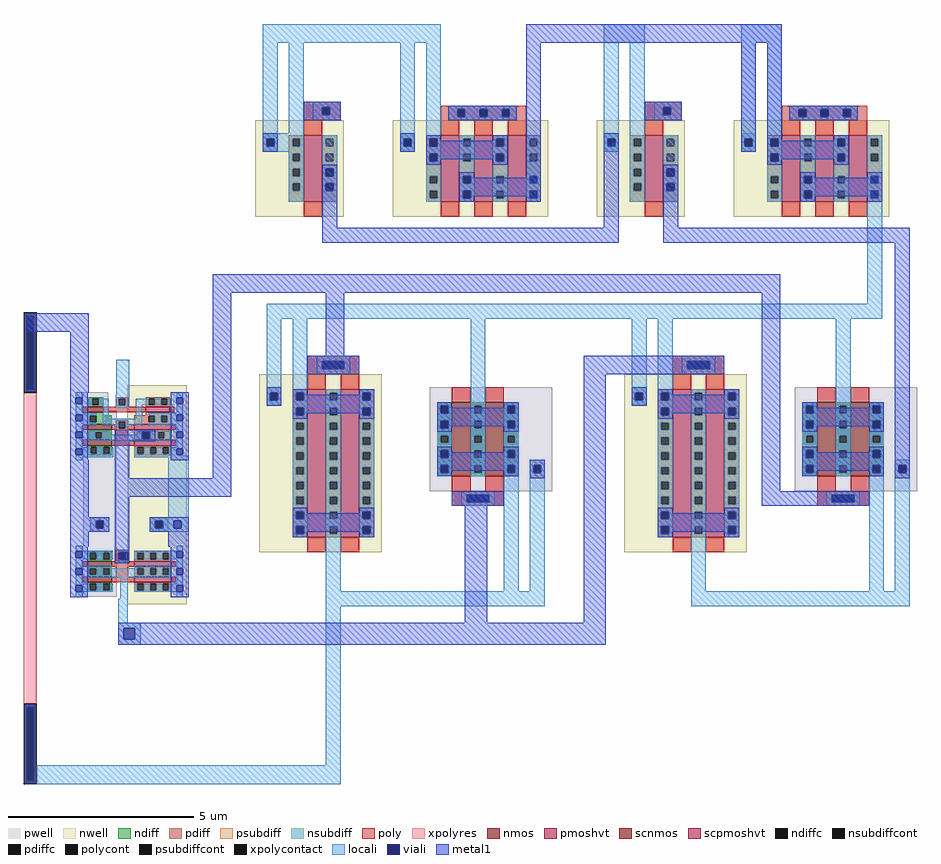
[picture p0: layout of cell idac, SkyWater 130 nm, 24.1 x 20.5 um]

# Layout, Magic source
magic
tech sky130A
magscale 1 2
<< nwell >>
rect 380 220 420 260
rect 2220 220 2260 260
rect -690 -1760 -370 -1300
rect -680 -1810 -370 -1760
rect -690 -1860 -370 -1810
<< pwell >>
rect -930 -1780 -750 -1290
<< pdiffc >>
rect 380 220 420 260
rect 2220 220 2260 260
<< psubdiff >>
rect -890 -1640 -790 -1620
rect -890 -1680 -860 -1640
rect -820 -1680 -790 -1640
rect -890 -1700 -790 -1680
<< nsubdiff >>
rect -570 -1640 -470 -1620
rect -570 -1680 -540 -1640
rect -500 -1680 -470 -1640
rect -570 -1700 -470 -1680
<< psubdiffcont >>
rect -860 -1680 -820 -1640
<< nsubdiffcont >>
rect -540 -1680 -500 -1640
<< poly >>
rect 260 590 460 620
rect 260 550 360 590
rect 400 550 460 590
rect 2100 590 2300 620
rect 260 520 460 550
rect 2100 550 2200 590
rect 2240 550 2300 590
rect 2100 520 2300 550
<< polycont >>
rect 360 550 400 590
rect 1090 540 1130 580
rect 1210 540 1250 580
rect 1330 540 1370 580
rect 2200 550 2240 590
rect 2930 540 2970 580
rect 3050 540 3090 580
rect 3170 540 3210 580
<< locali >>
rect 160 940 850 1040
rect 180 450 260 830
rect 310 590 460 620
rect 310 550 360 590
rect 400 550 460 590
rect 310 520 460 550
rect 1040 580 1410 600
rect 1040 540 1090 580
rect 1130 540 1210 580
rect 1250 540 1330 580
rect 1370 540 1410 580
rect 1040 520 1410 540
rect 2150 590 2300 620
rect 2150 550 2200 590
rect 2240 550 2300 590
rect 2150 520 2300 550
rect 2880 580 3250 600
rect 2880 540 2930 580
rect 2970 540 3050 580
rect 3090 540 3170 580
rect 3210 540 3250 580
rect 2880 520 3250 540
rect 120 420 260 450
rect 120 350 180 420
rect 3300 -470 3380 110
rect 1020 -550 2110 -470
rect 2850 -550 3380 -470
rect -750 -980 -680 -770
rect -470 -1620 -360 -1290
rect -890 -1640 -790 -1620
rect -890 -1680 -860 -1640
rect -820 -1680 -790 -1640
rect -890 -1700 -790 -1680
rect -570 -1640 -360 -1620
rect -570 -1680 -540 -1640
rect -500 -1680 -440 -1640
rect -400 -1680 -360 -1640
rect -570 -1700 -360 -1680
rect -740 -1940 -690 -1930
rect -730 -2060 -690 -1940
rect -740 -2190 -690 -2060
rect -740 -2220 -620 -2190
rect -740 -2280 -710 -2220
rect -650 -2280 -620 -2220
rect -740 -2310 -620 -2280
rect 380 -2960 460 -2100
rect -1180 -3060 460 -2960
<< viali >>
rect 360 550 400 590
rect 1090 540 1130 580
rect 1210 540 1250 580
rect 1330 540 1370 580
rect 2200 550 2240 590
rect 2930 540 2970 580
rect 3050 540 3090 580
rect 3170 540 3210 580
rect 380 220 420 260
rect 2220 220 2260 260
rect 380 140 420 180
rect 2220 140 2260 180
rect -610 -1200 -570 -1160
rect -860 -1680 -820 -1640
rect -540 -1680 -500 -1640
rect -440 -1680 -400 -1640
rect -730 -1850 -690 -1810
rect -710 -2280 -650 -2220
<< metal1 >>
rect 1460 940 2840 1040
rect 260 590 460 620
rect 260 550 360 590
rect 400 550 460 590
rect 260 520 460 550
rect 1040 580 1410 600
rect 1040 540 1090 580
rect 1130 540 1210 580
rect 1250 540 1330 580
rect 1370 540 1410 580
rect 1040 520 1410 540
rect 360 260 440 280
rect 360 220 380 260
rect 420 220 440 260
rect 1460 240 1540 940
rect 2100 590 2300 620
rect 2100 550 2200 590
rect 2240 550 2300 590
rect 2100 520 2300 550
rect 2620 450 2700 940
rect 2760 440 2840 940
rect 2880 580 3250 600
rect 2880 540 2930 580
rect 2970 540 3050 580
rect 3090 540 3170 580
rect 3210 540 3250 580
rect 2880 520 3250 540
rect 360 180 440 220
rect 360 140 380 180
rect 420 140 440 180
rect 360 -60 440 140
rect 1880 -60 1960 400
rect 360 -140 1960 -60
rect 2200 260 2280 280
rect 2200 220 2220 260
rect 2260 220 2280 260
rect 2200 180 2280 220
rect 2200 140 2220 180
rect 2260 140 2280 180
rect 2200 -60 2280 140
rect 2200 -140 3530 -60
rect -230 -410 2830 -310
rect -1240 -620 -900 -520
rect -1000 -950 -900 -620
rect -999 -975 -904 -950
rect -760 -1160 -540 -1150
rect -760 -1200 -610 -1160
rect -570 -1200 -540 -1160
rect -760 -1210 -540 -1200
rect -1000 -1620 -900 -1310
rect -760 -1410 -680 -1210
rect -230 -1410 -130 -410
rect 380 -820 480 -410
rect -760 -1510 -130 -1410
rect 1770 -850 2250 -750
rect -1000 -1640 -790 -1620
rect -1000 -1680 -860 -1640
rect -820 -1680 -790 -1640
rect -1000 -1700 -790 -1680
rect -1000 -1780 -900 -1700
rect -760 -1810 -680 -1510
rect -570 -1640 -360 -1620
rect -570 -1680 -540 -1640
rect -500 -1680 -440 -1640
rect -400 -1680 -360 -1640
rect -570 -1700 -360 -1680
rect -470 -1780 -360 -1700
rect -760 -1850 -730 -1810
rect -690 -1850 -680 -1810
rect -760 -1870 -680 -1850
rect 1130 -2190 1250 -1510
rect 1770 -2190 1890 -850
rect 2730 -1480 2830 -410
rect 3450 -1320 3530 -140
rect 2730 -1560 3030 -1480
rect -740 -2220 1890 -2190
rect -740 -2280 -710 -2220
rect -650 -2280 1890 -2220
rect -740 -2310 1890 -2280
use obr  obr_0
transform 1 0 0 0 1 0
box 0 0 1580 1040
use obr  obr_1
transform 1 0 1840 0 1 0
box 0 0 1580 1040
use ol1  ol1_0
transform 1 0 20 0 1 -1810
box 0 -290 1580 1340
use ol1  ol1_1
transform 1 0 1990 0 1 -1810
box 0 -290 1580 1340
use sky130_fd_pr__res_xhigh_po_0p35_R469US  sky130_fd_pr__res_xhigh_po_0p35_R469US_0
transform -1 0 -1215 0 -1 -1788
box -35 -1272 35 1272
use sky130_fd_sc_hd__buf_2  sky130_fd_sc_hd__buf_2_0 ~/eda/unic-cass/share/pdk/sky130A/libs.ref/sky130_fd_sc_hd/mag
transform 0 1 -952 -1 0 -946
box -38 -48 406 592
use sky130_fd_sc_hd__inv_2  sky130_fd_sc_hd__inv_2_0 ~/eda/unic-cass/share/pdk/sky130A/libs.ref/sky130_fd_sc_hd/mag
transform 0 1 -952 -1 0 -1776
box -38 -48 314 592
<< end >>

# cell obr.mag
magic
tech sky130A
<< poly >>
rect 500 260 730 300
rect 130 220 180 260
<< locali >>
rect 20 470 130 520
rect 20 225 60 470
rect 90 220 130 470
rect 390 470 500 520
rect 390 225 430 470
rect 180 40 220 220
rect 460 210 500 470
<< metal1 >>
rect 730 40 770 120
use p_br1  p_br1_0
transform 1 0 130 0 1 40
box -130 -40 108 220
use p_br2  p_br2_0
transform 1 0 500 0 1 40
box -130 -40 290 260
<< labels >>
rlabel locali 80 520 80 520 1 s_1
port 1 n
rlabel poly 155 260 155 260 1 g_1
port 2 n
rlabel locali 205 220 205 220 1 d_1
port 3 n
rlabel locali 445 520 445 520 1 s_2
port 4 n
rlabel poly 615 300 615 300 1 g_2
port 5 n
rlabel metal1 750 40 750 40 5 d_2
port 6 s
<< end >>

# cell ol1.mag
magic
tech sky130A
<< locali >>
rect 20 630 610 670
rect 20 445 60 630
rect 90 440 130 630
rect 570 400 610 630
rect 180 -105 220 40
rect 660 -105 700 220
rect 730 -105 770 220
rect 180 -145 770 -105
<< metal1 >>
rect 130 480 270 530
rect 520 125 660 165
use n_lk  n_lk_0
transform -1 0 660 0 -1 405
box -130 -40 200 280
use p_lk  p_lk_0
transform 1 0 130 0 1 40
box -130 -40 200 490
<< labels >>
rlabel locali 480 -105 480 -105 1 input_R
port 2 n
rlabel locali 375 670 375 670 1 add_pwr
port 1 n
rlabel metal1 225 530 225 530 1 g1
port 3 n
rlabel metal1 565 125 565 125 5 g2
port 4 s
<< end >>

# cell sky130_fd_pr__res_xhigh_po_0p35_R469US: kit device sky130_fd_pr__res_xhigh_po_0p35, w 0.350 l 8.562 m 1 nx 1 wmin 0.350 lmin 0.50 rho 2000 val 50.001k dummy 0 dw 0.0 term 188.2 sterm 0.0 caplen 0 wmax 0.350 guard 0 glc 1 grc 1 gtc 1 gbc 1 compatible {sky130_fd_pr__res_xhigh_po_0p35 sky130_fd_pr__res_xhigh_po_0p69 sky130_fd_pr__res_xhigh_po_1p41 sky130_fd_pr__res_xhigh_po_2p85 sky130_fd_pr__res_xhigh_po_5p73} snake 0 full_metal 1 n_guard 0 hv_guard 0 vias 1 viagb 0 viagt 0 viagl 0 viagr 0

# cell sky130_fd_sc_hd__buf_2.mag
magic
tech sky130A
magscale 1 2
<< nwell >>
rect -38 261 406 582
<< pwell >>
rect 98 157 367 203
rect 1 21 367 157
rect 29 -17 63 21
<< scnmos >>
rect 79 47 109 131
rect 174 47 204 177
rect 258 47 288 177
<< scpmoshvt >>
rect 79 361 109 489
rect 174 297 204 497
rect 258 297 288 497
<< ndiff >>
rect 124 131 174 177
rect 27 106 79 131
rect 27 72 35 106
rect 69 72 79 106
rect 27 47 79 72
rect 109 93 174 131
rect 109 59 128 93
rect 162 59 174 93
rect 109 47 174 59
rect 204 123 258 177
rect 204 89 214 123
rect 248 89 258 123
rect 204 47 258 89
rect 288 165 341 177
rect 288 131 298 165
rect 332 131 341 165
rect 288 97 341 131
rect 288 63 298 97
rect 332 63 341 97
rect 288 47 341 63
<< pdiff >>
rect 124 489 174 497
rect 27 477 79 489
rect 27 443 35 477
rect 69 443 79 477
rect 27 409 79 443
rect 27 375 35 409
rect 69 375 79 409
rect 27 361 79 375
rect 109 477 174 489
rect 109 443 128 477
rect 162 443 174 477
rect 109 409 174 443
rect 109 375 128 409
rect 162 375 174 409
rect 109 361 174 375
rect 124 297 174 361
rect 204 461 258 497
rect 204 427 214 461
rect 248 427 258 461
rect 204 380 258 427
rect 204 346 214 380
rect 248 346 258 380
rect 204 297 258 346
rect 288 485 341 497
rect 288 451 298 485
rect 332 451 341 485
rect 288 417 341 451
rect 288 383 298 417
rect 332 383 341 417
rect 288 349 341 383
rect 288 315 298 349
rect 332 315 341 349
rect 288 297 341 315
<< ndiffc >>
rect 35 72 69 106
rect 128 59 162 93
rect 214 89 248 123
rect 298 131 332 165
rect 298 63 332 97
<< pdiffc >>
rect 35 443 69 477
rect 35 375 69 409
rect 128 443 162 477
rect 128 375 162 409
rect 214 427 248 461
rect 214 346 248 380
rect 298 451 332 485
rect 298 383 332 417
rect 298 315 332 349
<< poly >>
rect 79 489 109 515
rect 174 497 204 523
rect 258 497 288 523
rect 79 265 109 361
rect 174 265 204 297
rect 258 265 288 297
rect 27 249 109 265
rect 27 215 37 249
rect 71 215 109 249
rect 27 199 109 215
rect 151 249 288 265
rect 151 215 161 249
rect 195 215 288 249
rect 151 199 288 215
rect 79 131 109 199
rect 174 177 204 199
rect 258 177 288 199
rect 79 21 109 47
rect 174 21 204 47
rect 258 21 288 47
<< polycont >>
rect 37 215 71 249
rect 161 215 195 249
<< locali >>
rect 0 527 29 561
rect 63 527 121 561
rect 155 527 213 561
rect 247 527 305 561
rect 339 527 368 561
rect 35 477 69 493
rect 35 409 69 443
rect 112 477 178 527
rect 112 443 128 477
rect 162 443 178 477
rect 112 409 178 443
rect 112 375 128 409
rect 162 375 178 409
rect 212 461 263 493
rect 212 427 214 461
rect 248 427 263 461
rect 212 380 263 427
rect 35 341 69 375
rect 212 346 214 380
rect 248 346 263 380
rect 35 307 178 341
rect 212 312 263 346
rect 17 249 88 271
rect 17 215 37 249
rect 71 215 88 249
rect 17 197 88 215
rect 144 265 178 307
rect 144 249 195 265
rect 144 215 161 249
rect 144 199 195 215
rect 144 161 178 199
rect 229 166 263 312
rect 298 485 350 527
rect 332 451 350 485
rect 298 417 350 451
rect 332 383 350 417
rect 298 349 350 383
rect 332 315 350 349
rect 298 297 350 315
rect 35 127 178 161
rect 35 106 69 127
rect 212 123 263 166
rect 35 51 69 72
rect 112 59 128 93
rect 162 59 178 93
rect 112 17 178 59
rect 212 89 214 123
rect 248 89 263 123
rect 212 51 263 89
rect 298 165 350 185
rect 332 131 350 165
rect 298 97 350 131
rect 332 63 350 97
rect 298 17 350 63
rect 0 -17 29 17
rect 63 -17 121 17
rect 155 -17 213 17
rect 247 -17 305 17
rect 339 -17 368 17
<< viali >>
rect 29 527 63 561
rect 121 527 155 561
rect 213 527 247 561
rect 305 527 339 561
rect 29 -17 63 17
rect 121 -17 155 17
rect 213 -17 247 17
rect 305 -17 339 17
<< metal1 >>
rect 0 561 368 592
rect 0 527 29 561
rect 63 527 121 561
rect 155 527 213 561
rect 247 527 305 561
rect 339 527 368 561
rect 0 496 368 527
rect 0 17 368 48
rect 0 -17 29 17
rect 63 -17 121 17
rect 155 -17 213 17
rect 247 -17 305 17
rect 339 -17 368 17
rect 0 -48 368 -17
<< labels >>
flabel metal1 s 29 527 63 561 0 FreeSans 200 0 0 0 VPWR
port 2 nsew
flabel metal1 s 29 -17 63 17 0 FreeSans 200 0 0 0 VGND
port 3 nsew
flabel locali s 29 527 63 561 0 FreeSans 200 0 0 0 VPWR
port 2 nsew
flabel locali s 29 -17 63 17 0 FreeSans 200 0 0 0 VGND
port 3 nsew
flabel locali s 212 85 246 119 0 FreeSans 200 0 0 0 X
port 4 nsew
flabel locali s 212 357 246 391 0 FreeSans 200 0 0 0 X
port 4 nsew
flabel locali s 212 425 246 459 0 FreeSans 200 0 0 0 X
port 4 nsew
flabel locali s 29 221 63 255 0 FreeSans 200 0 0 0 A
port 5 nsew
flabel nwell s 29 527 63 561 0 FreeSans 200 0 0 0 VPB
port 6 nsew
flabel pwell s 29 -17 63 17 0 FreeSans 200 0 0 0 VNB
port 7 nsew
rlabel comment s 0 0 0 0 4 buf_2
<< properties >>
string FIXED_BBOX 0 0 368 544
string path 0.000 2.720 1.840 2.720 
<< end >>

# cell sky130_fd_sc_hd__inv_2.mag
magic
tech sky130A
magscale 1 2
<< nwell >>
rect -38 261 314 582
<< pwell >>
rect 3 21 273 203
rect 29 -17 63 21
<< scnmos >>
rect 81 47 111 177
rect 165 47 195 177
<< scpmoshvt >>
rect 81 297 111 497
rect 165 297 195 497
<< ndiff >>
rect 29 165 81 177
rect 29 131 37 165
rect 71 131 81 165
rect 29 93 81 131
rect 29 59 37 93
rect 71 59 81 93
rect 29 47 81 59
rect 111 165 165 177
rect 111 131 121 165
rect 155 131 165 165
rect 111 93 165 131
rect 111 59 121 93
rect 155 59 165 93
rect 111 47 165 59
rect 195 165 247 177
rect 195 131 205 165
rect 239 131 247 165
rect 195 93 247 131
rect 195 59 205 93
rect 239 59 247 93
rect 195 47 247 59
<< pdiff >>
rect 29 485 81 497
rect 29 451 37 485
rect 71 451 81 485
rect 29 417 81 451
rect 29 383 37 417
rect 71 383 81 417
rect 29 349 81 383
rect 29 315 37 349
rect 71 315 81 349
rect 29 297 81 315
rect 111 485 165 497
rect 111 451 121 485
rect 155 451 165 485
rect 111 417 165 451
rect 111 383 121 417
rect 155 383 165 417
rect 111 349 165 383
rect 111 315 121 349
rect 155 315 165 349
rect 111 297 165 315
rect 195 485 247 497
rect 195 451 205 485
rect 239 451 247 485
rect 195 417 247 451
rect 195 383 205 417
rect 239 383 247 417
rect 195 349 247 383
rect 195 315 205 349
rect 239 315 247 349
rect 195 297 247 315
<< ndiffc >>
rect 37 131 71 165
rect 37 59 71 93
rect 121 131 155 165
rect 121 59 155 93
rect 205 131 239 165
rect 205 59 239 93
<< pdiffc >>
rect 37 451 71 485
rect 37 383 71 417
rect 37 315 71 349
rect 121 451 155 485
rect 121 383 155 417
rect 121 315 155 349
rect 205 451 239 485
rect 205 383 239 417
rect 205 315 239 349
<< poly >>
rect 81 497 111 523
rect 165 497 195 523
rect 81 265 111 297
rect 165 265 195 297
rect 21 249 195 265
rect 21 215 37 249
rect 71 215 195 249
rect 21 199 195 215
rect 81 177 111 199
rect 165 177 195 199
rect 81 21 111 47
rect 165 21 195 47
<< polycont >>
rect 37 215 71 249
<< locali >>
rect 0 527 29 561
rect 63 527 121 561
rect 155 527 213 561
rect 247 527 276 561
rect 25 485 71 527
rect 25 451 37 485
rect 25 417 71 451
rect 25 383 37 417
rect 25 349 71 383
rect 25 315 37 349
rect 25 299 71 315
rect 105 485 171 493
rect 105 451 121 485
rect 155 451 171 485
rect 105 417 171 451
rect 105 383 121 417
rect 155 383 171 417
rect 105 349 171 383
rect 105 315 121 349
rect 155 315 171 349
rect 105 297 171 315
rect 205 485 247 527
rect 239 451 247 485
rect 205 417 247 451
rect 239 383 247 417
rect 205 349 247 383
rect 239 315 247 349
rect 205 299 247 315
rect 21 249 87 265
rect 21 215 37 249
rect 71 215 87 249
rect 25 165 71 181
rect 121 177 171 297
rect 25 131 37 165
rect 25 93 71 131
rect 25 59 37 93
rect 25 17 71 59
rect 105 165 171 177
rect 105 131 121 165
rect 155 131 171 165
rect 105 93 171 131
rect 105 59 121 93
rect 155 59 171 93
rect 105 51 171 59
rect 205 165 247 181
rect 239 131 247 165
rect 205 93 247 131
rect 239 59 247 93
rect 205 17 247 59
rect 0 -17 29 17
rect 63 -17 121 17
rect 155 -17 213 17
rect 247 -17 276 17
<< viali >>
rect 29 527 63 561
rect 121 527 155 561
rect 213 527 247 561
rect 29 -17 63 17
rect 121 -17 155 17
rect 213 -17 247 17
<< metal1 >>
rect 0 561 276 592
rect 0 527 29 561
rect 63 527 121 561
rect 155 527 213 561
rect 247 527 276 561
rect 0 496 276 527
rect 0 17 276 48
rect 0 -17 29 17
rect 63 -17 121 17
rect 155 -17 213 17
rect 247 -17 276 17
rect 0 -48 276 -17
<< labels >>
flabel locali s 29 221 63 255 0 FreeSans 340 0 0 0 A
port 7 nsew
flabel locali s 121 153 155 187 0 FreeSans 340 0 0 0 Y
port 6 nsew
flabel locali s 121 289 155 323 0 FreeSans 340 0 0 0 Y
port 6 nsew
flabel locali s 121 221 155 255 0 FreeSans 340 0 0 0 Y
port 6 nsew
flabel nwell s 29 527 63 561 0 FreeSans 200 0 0 0 VPB
port 2 nsew
flabel pwell s 29 -17 63 17 0 FreeSans 200 0 0 0 VNB
port 3 nsew
flabel metal1 s 29 527 63 561 0 FreeSans 200 0 0 0 VPWR
port 4 nsew
flabel metal1 s 29 -17 63 17 0 FreeSans 200 0 0 0 VGND
port 5 nsew
rlabel comment s 0 0 0 0 4 inv_2
<< properties >>
string FIXED_BBOX 0 0 276 544
string path 0.000 0.000 1.380 0.000 
<< end >>

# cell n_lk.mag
magic
tech sky130A
<< pwell >>
rect -130 -40 200 240
<< nmos >>
rect 0 0 50 200
rect 90 0 140 200
<< ndiff >>
rect -40 190 0 200
rect -40 170 -30 190
rect -10 170 0 190
rect -40 150 0 170
rect -40 130 -30 150
rect -10 130 0 150
rect -40 110 0 130
rect -40 90 -30 110
rect -10 90 0 110
rect -40 70 0 90
rect -40 50 -30 70
rect -10 50 0 70
rect -40 30 0 50
rect -40 10 -30 30
rect -10 10 0 30
rect -40 0 0 10
rect 50 190 90 200
rect 50 170 60 190
rect 80 170 90 190
rect 50 150 90 170
rect 50 130 60 150
rect 80 130 90 150
rect 50 110 90 130
rect 50 90 60 110
rect 80 90 90 110
rect 50 70 90 90
rect 50 50 60 70
rect 80 50 90 70
rect 50 30 90 50
rect 50 10 60 30
rect 80 10 90 30
rect 50 0 90 10
rect 140 190 180 200
rect 140 170 150 190
rect 170 170 180 190
rect 140 150 180 170
rect 140 130 150 150
rect 170 130 180 150
rect 140 110 180 130
rect 140 90 150 110
rect 170 90 180 110
rect 140 70 180 90
rect 140 50 150 70
rect 170 50 180 70
rect 140 30 180 50
rect 140 10 150 30
rect 170 10 180 30
rect 140 0 180 10
<< ndiffc >>
rect -30 170 -10 190
rect -30 130 -10 150
rect -30 90 -10 110
rect -30 50 -10 70
rect -30 10 -10 30
rect 60 170 80 190
rect 60 130 80 150
rect 60 90 80 110
rect 60 50 80 70
rect 60 10 80 30
rect 150 170 170 190
rect 150 130 170 150
rect 150 90 170 110
rect 150 50 170 70
rect 150 10 170 30
<< psubdiff >>
rect -110 190 -70 205
rect -110 170 -100 190
rect -80 170 -70 190
rect -110 155 -70 170
<< psubdiffcont >>
rect -100 170 -80 190
<< poly >>
rect 0 270 140 280
rect 0 250 40 270
rect 100 250 140 270
rect 0 240 140 250
rect 0 200 50 240
rect 90 200 140 240
rect 0 -40 50 0
rect 90 -40 140 0
<< polycont >>
rect 40 250 100 270
<< locali >>
rect 25 270 115 280
rect 25 250 40 270
rect 100 250 115 270
rect 25 240 115 250
rect -110 190 -70 205
rect -110 170 -100 190
rect -80 170 -70 190
rect -110 155 -70 170
rect -40 190 0 200
rect -40 170 -30 190
rect -10 170 0 190
rect -40 150 0 170
rect -40 130 -30 150
rect -10 130 0 150
rect -40 110 0 130
rect -40 90 -30 110
rect -10 90 0 110
rect -40 70 0 90
rect -40 50 -30 70
rect -10 50 0 70
rect -40 30 0 50
rect -40 10 -30 30
rect -10 10 0 30
rect -40 0 0 10
rect 50 190 90 200
rect 50 170 60 190
rect 80 170 90 190
rect 50 150 90 170
rect 50 130 60 150
rect 80 130 90 150
rect 50 110 90 130
rect 50 90 60 110
rect 80 90 90 110
rect 50 70 90 90
rect 50 50 60 70
rect 80 50 90 70
rect 50 30 90 50
rect 50 10 60 30
rect 80 10 90 30
rect 50 0 90 10
rect 140 190 180 200
rect 140 170 150 190
rect 170 170 180 190
rect 140 150 180 170
rect 140 130 150 150
rect 170 130 180 150
rect 140 110 180 130
rect 140 90 150 110
rect 170 90 180 110
rect 140 70 180 90
rect 140 50 150 70
rect 170 50 180 70
rect 140 30 180 50
rect 140 10 150 30
rect 170 10 180 30
rect 140 0 180 10
<< viali >>
rect 40 250 100 270
rect -100 170 -80 190
rect -30 170 -10 190
rect -30 130 -10 150
rect -30 50 -10 70
rect -30 10 -10 30
rect 150 170 170 190
rect 150 130 170 150
rect 150 50 170 70
rect 150 10 170 30
<< metal1 >>
rect 0 270 140 280
rect 0 250 40 270
rect 100 250 140 270
rect 0 240 140 250
rect -110 190 -70 205
rect -110 170 -100 190
rect -80 170 -70 190
rect -110 155 -70 170
rect -40 190 0 200
rect -40 170 -30 190
rect -10 185 0 190
rect 140 190 180 200
rect 140 185 150 190
rect -10 170 150 185
rect 170 170 180 190
rect -40 150 180 170
rect -40 130 -30 150
rect -10 135 150 150
rect -10 130 0 135
rect -40 120 0 130
rect 140 130 150 135
rect 170 130 180 150
rect 140 120 180 130
rect -40 70 0 80
rect -40 50 -30 70
rect -10 65 0 70
rect 140 70 180 80
rect 140 65 150 70
rect -10 50 150 65
rect 170 50 180 70
rect -40 30 180 50
rect -40 10 -30 30
rect -10 15 150 30
rect -10 10 0 15
rect -40 0 0 10
rect 140 10 150 15
rect 170 10 180 30
rect 140 0 180 10
<< labels >>
rlabel metal1 -90 205 -90 205 1 B
port 4 n
rlabel metal1 -20 200 -20 200 1 S
port 2 n
rlabel locali 70 0 70 0 5 D
port 3 s
rlabel metal1 70 280 70 280 1 G
port 1 n
<< end >>

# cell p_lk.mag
magic
tech sky130A
<< nwell >>
rect -130 -40 200 440
<< pmoshvt >>
rect 0 0 50 400
rect 90 0 140 400
<< pdiff >>
rect -40 390 0 400
rect -40 370 -30 390
rect -10 370 0 390
rect -40 350 0 370
rect -40 330 -30 350
rect -10 330 0 350
rect -40 310 0 330
rect -40 290 -30 310
rect -10 290 0 310
rect -40 270 0 290
rect -40 250 -30 270
rect -10 250 0 270
rect -40 230 0 250
rect -40 210 -30 230
rect -10 210 0 230
rect -40 190 0 210
rect -40 170 -30 190
rect -10 170 0 190
rect -40 150 0 170
rect -40 130 -30 150
rect -10 130 0 150
rect -40 110 0 130
rect -40 90 -30 110
rect -10 90 0 110
rect -40 70 0 90
rect -40 50 -30 70
rect -10 50 0 70
rect -40 30 0 50
rect -40 10 -30 30
rect -10 10 0 30
rect -40 0 0 10
rect 50 390 90 400
rect 50 370 60 390
rect 80 370 90 390
rect 50 350 90 370
rect 50 330 60 350
rect 80 330 90 350
rect 50 310 90 330
rect 50 290 60 310
rect 80 290 90 310
rect 50 270 90 290
rect 50 250 60 270
rect 80 250 90 270
rect 50 230 90 250
rect 50 210 60 230
rect 80 210 90 230
rect 50 190 90 210
rect 50 170 60 190
rect 80 170 90 190
rect 50 150 90 170
rect 50 130 60 150
rect 80 130 90 150
rect 50 110 90 130
rect 50 90 60 110
rect 80 90 90 110
rect 50 70 90 90
rect 50 50 60 70
rect 80 50 90 70
rect 50 30 90 50
rect 50 10 60 30
rect 80 10 90 30
rect 50 0 90 10
rect 140 390 180 400
rect 140 370 150 390
rect 170 370 180 390
rect 140 350 180 370
rect 140 330 150 350
rect 170 330 180 350
rect 140 310 180 330
rect 140 290 150 310
rect 170 290 180 310
rect 140 270 180 290
rect 140 250 150 270
rect 170 250 180 270
rect 140 230 180 250
rect 140 210 150 230
rect 170 210 180 230
rect 140 190 180 210
rect 140 170 150 190
rect 170 170 180 190
rect 140 150 180 170
rect 140 130 150 150
rect 170 130 180 150
rect 140 110 180 130
rect 140 90 150 110
rect 170 90 180 110
rect 140 70 180 90
rect 140 50 150 70
rect 170 50 180 70
rect 140 30 180 50
rect 140 10 150 30
rect 170 10 180 30
rect 140 0 180 10
<< pdiffc >>
rect -30 370 -10 390
rect -30 330 -10 350
rect -30 290 -10 310
rect -30 250 -10 270
rect -30 210 -10 230
rect -30 170 -10 190
rect -30 130 -10 150
rect -30 90 -10 110
rect -30 50 -10 70
rect -30 10 -10 30
rect 60 370 80 390
rect 60 330 80 350
rect 60 290 80 310
rect 60 250 80 270
rect 60 210 80 230
rect 60 170 80 190
rect 60 130 80 150
rect 60 90 80 110
rect 60 50 80 70
rect 60 10 80 30
rect 150 370 170 390
rect 150 330 170 350
rect 150 290 170 310
rect 150 250 170 270
rect 150 210 170 230
rect 150 170 170 190
rect 150 130 170 150
rect 150 90 170 110
rect 150 50 170 70
rect 150 10 170 30
<< nsubdiff >>
rect -110 390 -70 405
rect -110 370 -100 390
rect -80 370 -70 390
rect -110 355 -70 370
<< nsubdiffcont >>
rect -100 370 -80 390
<< poly >>
rect 0 475 140 490
rect 0 455 40 475
rect 100 455 140 475
rect 0 440 140 455
rect 0 400 50 440
rect 90 400 140 440
rect 0 -40 50 0
rect 90 -40 140 0
<< polycont >>
rect 40 455 100 475
<< locali >>
rect 25 475 115 490
rect 25 455 40 475
rect 100 455 115 475
rect 25 440 115 455
rect -110 390 -70 405
rect -110 370 -100 390
rect -80 370 -70 390
rect -110 355 -70 370
rect -40 390 0 400
rect -40 370 -30 390
rect -10 370 0 390
rect -40 350 0 370
rect -40 330 -30 350
rect -10 330 0 350
rect -40 310 0 330
rect -40 290 -30 310
rect -10 290 0 310
rect -40 270 0 290
rect -40 250 -30 270
rect -10 250 0 270
rect -40 230 0 250
rect -40 210 -30 230
rect -10 210 0 230
rect -40 190 0 210
rect -40 170 -30 190
rect -10 170 0 190
rect -40 150 0 170
rect -40 130 -30 150
rect -10 130 0 150
rect -40 110 0 130
rect -40 90 -30 110
rect -10 90 0 110
rect -40 70 0 90
rect -40 50 -30 70
rect -10 50 0 70
rect -40 30 0 50
rect -40 10 -30 30
rect -10 10 0 30
rect -40 0 0 10
rect 50 390 90 400
rect 50 370 60 390
rect 80 370 90 390
rect 50 350 90 370
rect 50 330 60 350
rect 80 330 90 350
rect 50 310 90 330
rect 50 290 60 310
rect 80 290 90 310
rect 50 270 90 290
rect 50 250 60 270
rect 80 250 90 270
rect 50 230 90 250
rect 50 210 60 230
rect 80 210 90 230
rect 50 190 90 210
rect 50 170 60 190
rect 80 170 90 190
rect 50 150 90 170
rect 50 130 60 150
rect 80 130 90 150
rect 50 110 90 130
rect 50 90 60 110
rect 80 90 90 110
rect 50 70 90 90
rect 50 50 60 70
rect 80 50 90 70
rect 50 30 90 50
rect 50 10 60 30
rect 80 10 90 30
rect 50 0 90 10
rect 140 390 180 400
rect 140 370 150 390
rect 170 370 180 390
rect 140 350 180 370
rect 140 330 150 350
rect 170 330 180 350
rect 140 310 180 330
rect 140 290 150 310
rect 170 290 180 310
rect 140 270 180 290
rect 140 250 150 270
rect 170 250 180 270
rect 140 230 180 250
rect 140 210 150 230
rect 170 210 180 230
rect 140 190 180 210
rect 140 170 150 190
rect 170 170 180 190
rect 140 150 180 170
rect 140 130 150 150
rect 170 130 180 150
rect 140 110 180 130
rect 140 90 150 110
rect 170 90 180 110
rect 140 70 180 90
rect 140 50 150 70
rect 170 50 180 70
rect 140 30 180 50
rect 140 10 150 30
rect 170 10 180 30
rect 140 0 180 10
<< viali >>
rect 40 455 100 475
rect -100 370 -80 390
rect -30 370 -10 390
rect -30 330 -10 350
rect -30 50 -10 70
rect -30 10 -10 30
rect 150 370 170 390
rect 150 330 170 350
rect 150 50 170 70
rect 150 10 170 30
<< metal1 >>
rect 0 475 140 490
rect 0 455 40 475
rect 100 455 140 475
rect 0 440 140 455
rect -110 390 -70 405
rect -110 370 -100 390
rect -80 370 -70 390
rect -110 355 -70 370
rect -40 390 0 400
rect -40 370 -30 390
rect -10 385 0 390
rect 140 390 180 400
rect 140 385 150 390
rect -10 370 150 385
rect 170 370 180 390
rect -40 350 180 370
rect -40 330 -30 350
rect -10 335 150 350
rect -10 330 0 335
rect -40 320 0 330
rect 140 330 150 335
rect 170 330 180 350
rect 140 320 180 330
rect -40 70 0 80
rect -40 50 -30 70
rect -10 65 0 70
rect 140 70 180 80
rect 140 65 150 70
rect -10 50 150 65
rect 170 50 180 70
rect -40 30 180 50
rect -40 10 -30 30
rect -10 15 150 30
rect -10 10 0 15
rect -40 0 0 10
rect 140 10 150 15
rect 170 10 180 30
rect 140 0 180 10
<< labels >>
rlabel metal1 -90 405 -90 405 1 B
port 4 n
rlabel metal1 -20 400 -20 400 1 S
port 2 n
rlabel locali 70 0 70 0 5 D
port 3 s
rlabel metal1 70 490 70 490 1 G
port 1 n
<< end >>

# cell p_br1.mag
magic
tech sky130A
<< nwell >>
rect -130 -40 108 220
<< pmoshvt >>
rect 0 0 50 180
<< pdiff >>
rect -40 170 0 180
rect -40 150 -30 170
rect -10 150 0 170
rect -40 130 0 150
rect -40 110 -30 130
rect -10 110 0 130
rect -40 90 0 110
rect -40 70 -30 90
rect -10 70 0 90
rect -40 50 0 70
rect -40 30 -30 50
rect -10 30 0 50
rect -40 0 0 30
rect 50 170 90 180
rect 50 150 60 170
rect 80 150 90 170
rect 50 130 90 150
rect 50 110 60 130
rect 80 110 90 130
rect 50 90 90 110
rect 50 70 60 90
rect 80 70 90 90
rect 50 50 90 70
rect 50 30 60 50
rect 80 30 90 50
rect 50 0 90 30
<< pdiffc >>
rect -30 150 -10 170
rect -30 110 -10 130
rect -30 70 -10 90
rect -30 30 -10 50
rect 60 150 80 170
rect 60 110 80 130
rect 60 70 80 90
rect 60 30 80 50
<< nsubdiff >>
rect -110 170 -70 185
rect -110 150 -100 170
rect -80 150 -70 170
rect -110 135 -70 150
<< nsubdiffcont >>
rect -100 150 -80 170
<< poly >>
rect 0 180 50 220
rect 0 -40 50 0
<< locali >>
rect -110 170 -70 185
rect -110 150 -100 170
rect -80 150 -70 170
rect -110 135 -70 150
rect -40 170 0 180
rect -40 150 -30 170
rect -10 150 0 170
rect -40 130 0 150
rect -40 110 -30 130
rect -10 110 0 130
rect -40 90 0 110
rect -40 70 -30 90
rect -10 70 0 90
rect -40 50 0 70
rect -40 30 -30 50
rect -10 30 0 50
rect -40 0 0 30
rect 50 170 90 180
rect 50 150 60 170
rect 80 150 90 170
rect 50 130 90 150
rect 50 110 60 130
rect 80 110 90 130
rect 50 90 90 110
rect 50 70 60 90
rect 80 70 90 90
rect 50 50 90 70
rect 50 30 60 50
rect 80 30 90 50
rect 50 0 90 30
<< viali >>
rect -100 150 -80 170
<< metal1 >>
rect -110 170 -70 185
rect -110 150 -100 170
rect -80 150 -70 170
rect -110 135 -70 150
<< labels >>
rlabel metal1 -90 185 -90 185 1 B
port 4 n
rlabel locali -20 180 -20 180 1 S
port 2 n
rlabel locali 70 180 70 180 1 D
port 3 n
rlabel poly 25 220 25 220 1 G
port 1 n
<< end >>

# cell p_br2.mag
magic
tech sky130A
<< nwell >>
rect -130 -40 290 220
<< pmoshvt >>
rect 0 0 50 180
rect 90 0 140 180
rect 180 0 230 180
<< pdiff >>
rect -40 170 0 180
rect -40 150 -30 170
rect -10 150 0 170
rect -40 130 0 150
rect -40 110 -30 130
rect -10 110 0 130
rect -40 70 0 110
rect -40 50 -30 70
rect -10 50 0 70
rect -40 30 0 50
rect -40 10 -30 30
rect -10 10 0 30
rect -40 0 0 10
rect 50 170 90 180
rect 50 150 60 170
rect 80 150 90 170
rect 50 130 90 150
rect 50 110 60 130
rect 80 110 90 130
rect 50 70 90 110
rect 50 50 60 70
rect 80 50 90 70
rect 50 30 90 50
rect 50 10 60 30
rect 80 10 90 30
rect 50 0 90 10
rect 140 170 180 180
rect 140 150 150 170
rect 170 150 180 170
rect 140 130 180 150
rect 140 110 150 130
rect 170 110 180 130
rect 140 70 180 110
rect 140 50 150 70
rect 170 50 180 70
rect 140 30 180 50
rect 140 10 150 30
rect 170 10 180 30
rect 140 0 180 10
rect 230 170 270 180
rect 230 150 240 170
rect 260 150 270 170
rect 230 130 270 150
rect 230 110 240 130
rect 260 110 270 130
rect 230 70 270 110
rect 230 50 240 70
rect 260 50 270 70
rect 230 30 270 50
rect 230 10 240 30
rect 260 10 270 30
rect 230 0 270 10
<< pdiffc >>
rect -30 150 -10 170
rect -30 110 -10 130
rect -30 50 -10 70
rect -30 10 -10 30
rect 60 150 80 170
rect 60 110 80 130
rect 60 50 80 70
rect 60 10 80 30
rect 150 150 170 170
rect 150 110 170 130
rect 150 50 170 70
rect 150 10 170 30
rect 240 150 260 170
rect 240 110 260 130
rect 240 50 260 70
rect 240 10 260 30
<< nsubdiff >>
rect -110 170 -70 185
rect -110 150 -100 170
rect -80 150 -70 170
rect -110 135 -70 150
<< nsubdiffcont >>
rect -100 150 -80 170
<< poly >>
rect 0 220 230 260
rect 0 180 50 220
rect 90 180 140 220
rect 180 180 230 220
rect 0 -40 50 0
rect 90 -40 140 0
rect 180 -40 230 0
<< locali >>
rect -110 170 -70 185
rect -110 150 -100 170
rect -80 150 -70 170
rect -110 135 -70 150
rect -40 170 0 180
rect -40 150 -30 170
rect -10 150 0 170
rect -40 130 0 150
rect -40 110 -30 130
rect -10 110 0 130
rect -40 70 0 110
rect -40 50 -30 70
rect -10 50 0 70
rect -40 30 0 50
rect -40 10 -30 30
rect -10 10 0 30
rect -40 0 0 10
rect 50 170 90 180
rect 50 150 60 170
rect 80 150 90 170
rect 50 130 90 150
rect 50 110 60 130
rect 80 110 90 130
rect 50 70 90 110
rect 50 50 60 70
rect 80 50 90 70
rect 50 30 90 50
rect 50 10 60 30
rect 80 10 90 30
rect 50 0 90 10
rect 140 170 180 180
rect 140 150 150 170
rect 170 150 180 170
rect 140 130 180 150
rect 140 110 150 130
rect 170 110 180 130
rect 140 70 180 110
rect 140 50 150 70
rect 170 50 180 70
rect 140 30 180 50
rect 140 10 150 30
rect 170 10 180 30
rect 140 0 180 10
rect 230 170 270 180
rect 230 150 240 170
rect 260 150 270 170
rect 230 130 270 150
rect 230 110 240 130
rect 260 110 270 130
rect 230 70 270 110
rect 230 50 240 70
rect 260 50 270 70
rect 230 30 270 50
rect 230 10 240 30
rect 260 10 270 30
rect 230 0 270 10
<< viali >>
rect -100 150 -80 170
rect -30 150 -10 170
rect -30 110 -10 130
rect 60 50 80 70
rect 60 10 80 30
rect 150 150 170 170
rect 150 110 170 130
rect 240 50 260 70
rect 240 10 260 30
<< metal1 >>
rect -110 170 -70 185
rect -110 150 -100 170
rect -80 150 -70 170
rect -110 135 -70 150
rect -40 170 0 180
rect -40 150 -30 170
rect -10 165 0 170
rect 140 170 180 180
rect 140 165 150 170
rect -10 150 150 165
rect 170 150 180 170
rect -40 130 180 150
rect -40 110 -30 130
rect -10 115 150 130
rect -10 110 0 115
rect -40 100 0 110
rect 140 110 150 115
rect 170 110 180 130
rect 140 100 180 110
rect 50 70 90 80
rect 50 50 60 70
rect 80 65 90 70
rect 230 70 270 80
rect 230 65 240 70
rect 80 50 240 65
rect 260 50 270 70
rect 50 30 270 50
rect 50 10 60 30
rect 80 15 240 30
rect 80 10 90 15
rect 50 0 90 10
rect 230 10 240 15
rect 260 10 270 30
rect 230 0 270 10
<< labels >>
rlabel metal1 -90 185 -90 185 1 B
port 4 n
rlabel metal1 -20 180 -20 180 1 S
port 2 n
rlabel metal1 250 0 250 0 5 D
port 3 s
rlabel poly 120 260 120 260 1 G
port 1 n
<< end >>
